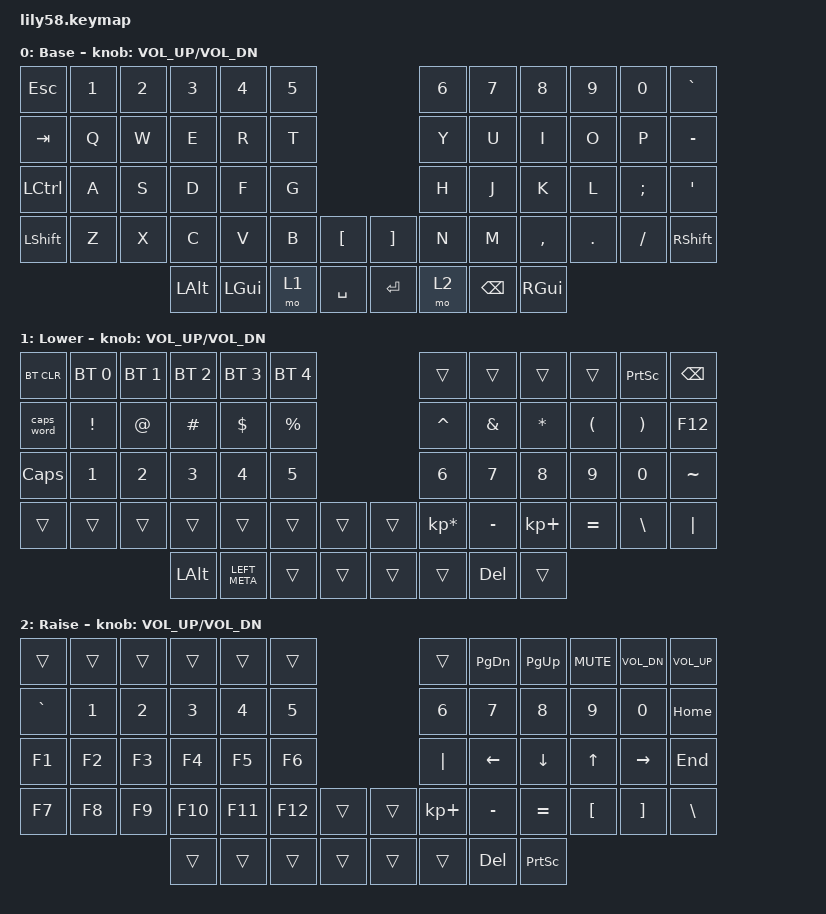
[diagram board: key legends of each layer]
/*
 * Copyright (c) 2020 The ZMK Contributors
 *
 * SPDX-License-Identifier: MIT
 */

#include <behaviors.dtsi>
#include <dt-bindings/zmk/bt.h>
#include <dt-bindings/zmk/keys.h>

/ {
    combos {
        compatible = "zmk,combos";

        LeftSelectAll {
            bindings = <&kp LC(A)>;
            key-positions = <25 26>;
        };

        LeftCopy {
            bindings = <&kp LC(C)>;
            key-positions = <25 39>;
        };

        LeftPaste {
            bindings = <&kp LC(V)>;
            key-positions = <25 40>;
        };

        LeftCut {
            bindings = <&kp LC(X)>;
            key-positions = <25 38>;
        };

        Esc {
            bindings = <&kp ESCAPE>;
            key-positions = <19 20>;
        };

        Find {
            bindings = <&kp LC(F)>;
            key-positions = <28 25>;
        };

        MakeLineAComment {
            bindings = <&kp LC(SLASH)>;
            key-positions = <45 39>;
        };

        quickopenfilevscode {
            bindings = <&kp LC(P)>;
            key-positions = <13 14>;
        };

        vscodetoggleterminal {
            bindings = <&kp LC(J)>;
            key-positions = <16 17>;
        };
    };

    macros {
        curlybrackets: curlybrackets {
            compatible = "zmk,behavior-macro";
            #binding-cells = <0>;
            bindings = <&kp LEFT_BRACE &kp RIGHT_BRACE>;
            label = "CURLYBRACKETS";
        };

        quotationmarks: quotationmarks {
            compatible = "zmk,behavior-macro";
            #binding-cells = <0>;
            bindings = <&kp DOUBLE_QUOTES &kp DOUBLE_QUOTES>;
            label = "QUOTATIONMARKS";
        };

        singlequotes: singlequotes {
            compatible = "zmk,behavior-macro";
            #binding-cells = <0>;
            bindings = <&kp SQT &kp SQT>;
            label = "SINGLEQUOTES";
        };
    };

    keymap {
        compatible = "zmk,keymap";

        default_layer {
            // ------------------------------------------------------------------------------------------------------------
            // |  ESC  |  1  |  2  |  3   |  4   |  5   |                   |  6   |  7    |  8    |  9   |   0   |   `   |
            // |  TAB  |  Q  |  W  |  E   |  R   |  T   |                   |  Y   |  U    |  I    |  O   |   P   |   -   |
            // |  CTRL |  A  |  S  |  D   |  F   |  G   |                   |  H   |  J    |  K    |  L   |   ;   |   '   |
            // | SHIFT |  Z  |  X  |  C   |  V   |  B   |   "["  |  |  "]"  |  N   |  M    |  ,    |  .   |   /   | SHIFT |
            //                     | ALT  | GUI  | LOWER|  SPACE |  | ENTER | RAISE| BSPC  | GUI   |

            display-name = "Base";
            bindings = <
&kp ESC    &kp N1  &kp N2  &kp N3    &kp N4    &kp N5                         &kp N6  &kp N7    &kp N8     &kp N9   &kp N0    &kp GRAVE
&kp TAB    &kp Q   &kp W   &kp E     &kp R     &kp T                          &kp Y   &kp U     &kp I      &kp O    &kp P     &kp MINUS
&kp LCTRL  &kp A   &kp S   &kp D     &kp F     &kp G                          &kp H   &kp J     &kp K      &kp L    &kp SEMI  &kp SQT
&kp LSHFT  &kp Z   &kp X   &kp C     &kp V     &kp B   &kp LBKT     &kp RBKT  &kp N   &kp M     &kp COMMA  &kp DOT  &kp FSLH  &kp RSHFT
                           &kp LALT  &kp LGUI  &mo 1   &kp SPACE    &kp RET   &mo 2   &kp BSPC  &kp RGUI
            >;

            sensor-bindings = <&inc_dec_kp C_VOL_UP C_VOL_DN>;
        };

        lower_layer {
            // ------------------------------------------------------------------------------------------------------------
            // | BTCLR | BT1 | BT2 |  BT3 |  BT4 |  BT5 |                   |      |       |       |      |       |       |
            // |  F1   |  F2 |  F3 |  F4  |  F5  |  F6  |                   |  F7  |  F8   |  F9   |  F10 |  F11  |  F12  |
            // |   `   |  !  |  @  |  #   |  $   |  %   |                   |  ^   |  &    |  *    |  (   |   )   |   ~   |
            // |       |     |     |      |      |      |        |  |       |      |  _    |  +    |  {   |   }   |  "|"  |
            //                     |      |      |      |        |  |       |      |       |       |

            display-name = "Lower";
            bindings = <
&bt BT_CLR    &bt BT_SEL 0     &bt BT_SEL 1  &bt BT_SEL 2  &bt BT_SEL 3   &bt BT_SEL 4                    &trans           &trans         &trans        &trans                &kp PRINTSCREEN        &kp BACKSPACE
&caps_word    &kp EXCLAMATION  &kp AT        &kp HASH      &kp DOLLAR     &kp PERCENT                     &kp CARET        &kp AMPERSAND  &kp ASTERISK  &kp LEFT_PARENTHESIS  &kp RIGHT_PARENTHESIS  &kp F12
&kp CAPSLOCK  &kp NUMBER_1     &kp NUMBER_2  &kp NUMBER_3  &kp NUMBER_4   &kp N5                          &kp NUMBER_6     &kp N7         &kp N8        &kp N9                &kp N0                 &kp TILDE
&trans        &trans           &trans        &trans        &trans         &trans        &trans    &trans  &kp KP_MULTIPLY  &kp MINUS      &kp KP_PLUS   &kp EQUAL             &kp BACKSLASH          &kp PIPE
                                             &kp LEFT_ALT  &kp LEFT_META  &trans        &trans    &trans  &trans           &kp DELETE     &trans
            >;

            sensor-bindings = <&inc_dec_kp C_VOL_UP C_VOL_DN>;
        };

        raise_layer {
            // ------------------------------------------------------------------------------------------------------------
            // |       |     |     |      |      |      |                   |      |       |       |      |       |       |
            // |   `   |  1  |  2  |  3   |  4   |  5   |                   |  6   |   7   |   8   |  9   |   0   |       |
            // |   F1  |  F2 |  F3 |  F4  |  F5  |  F6  |                   |      |   <-  |   v   |  ^   |  ->   |       |
            // |   F7  |  F8 |  F9 |  F10 |  F11 |  F12 |        |  |       |  +   |   -   |   =   |  [   |   ]   |   \   |
            //                     |      |      |      |        |  |       |      |       |       |

            display-name = "Raise";
            bindings = <
&trans     &trans  &trans  &trans   &trans   &trans                     &trans       &kp PAGE_DOWN  &kp PAGE_UP      &kp K_MUTE    &kp C_VOL_DN  &kp C_VOLUME_UP
&kp GRAVE  &kp N1  &kp N2  &kp N3   &kp N4   &kp N5                     &kp N6       &kp N7         &kp N8           &kp N9        &kp N0        &kp HOME
&kp F1     &kp F2  &kp F3  &kp F4   &kp F5   &kp F6                     &kp PIPE     &kp LEFT       &kp DOWN_ARROW   &kp UP_ARROW  &kp RIGHT     &kp END
&kp F7     &kp F8  &kp F9  &kp F10  &kp F11  &kp F12  &trans    &trans  &kp KP_PLUS  &kp MINUS      &kp EQUAL        &kp LBKT      &kp RBKT      &kp BSLH
                           &trans   &trans   &trans   &trans    &trans  &trans       &kp DELETE     &kp PRINTSCREEN
            >;

            sensor-bindings = <&inc_dec_kp C_VOL_UP C_VOL_DN>;
        };

        extra_1 { status = "reserved"; };

        extra_2 { status = "reserved"; };

        extra_3 { status = "reserved"; };
    };
};
